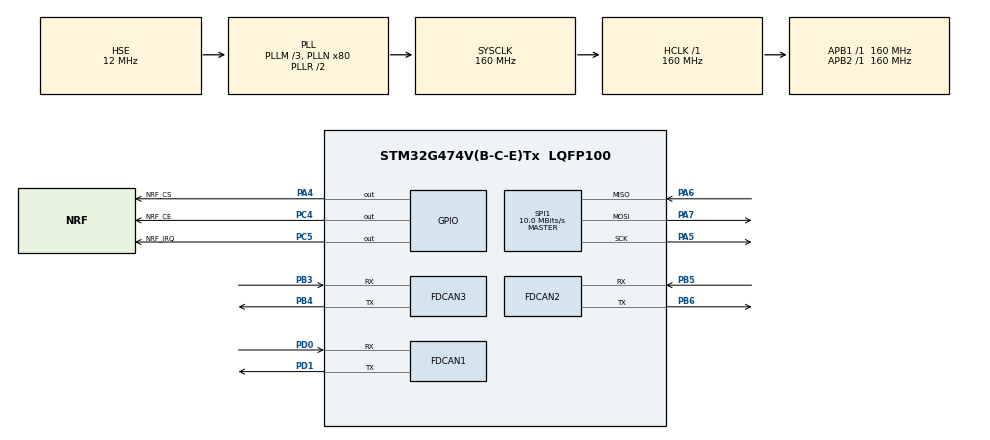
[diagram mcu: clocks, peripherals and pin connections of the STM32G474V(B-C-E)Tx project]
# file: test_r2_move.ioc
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FDCAN1.AutoRetransmission=ENABLE
FDCAN1.CalculateBaudRateNominal=1000000
FDCAN1.CalculateTimeBitNominal=1000
FDCAN1.CalculateTimeQuantumNominal=6.25
FDCAN1.DataSyncJumpWidth=4
FDCAN1.DataTimeSeg1=5
FDCAN1.DataTimeSeg2=4
FDCAN1.ExtFiltersNbr=1
FDCAN1.NominalPrescaler=1
FDCAN1.NominalSyncJumpWidth=16
FDCAN1.NominalTimeSeg1=119
FDCAN1.NominalTimeSeg2=40
FDCAN1.StdFiltersNbr=1
FDCAN1.TransmitPause=ENABLE
FDCAN2.AutoRetransmission=ENABLE
FDCAN2.CalculateBaudRateNominal=1000000
FDCAN2.CalculateTimeBitNominal=1000
FDCAN2.CalculateTimeQuantumNominal=6.25
FDCAN2.DataSyncJumpWidth=4
FDCAN2.DataTimeSeg1=5
FDCAN2.DataTimeSeg2=4
FDCAN2.ExtFiltersNbr=1
FDCAN2.NominalPrescaler=1
FDCAN2.NominalSyncJumpWidth=16
FDCAN2.NominalTimeSeg1=119
FDCAN2.NominalTimeSeg2=40
FDCAN2.StdFiltersNbr=1
FDCAN2.TransmitPause=ENABLE
FDCAN3.AutoRetransmission=ENABLE
FDCAN3.CalculateBaudRateNominal=1000000
FDCAN3.CalculateTimeBitNominal=1000
FDCAN3.CalculateTimeQuantumNominal=6.25
FDCAN3.DataSyncJumpWidth=4
FDCAN3.DataTimeSeg1=5
FDCAN3.DataTimeSeg2=4
FDCAN3.ExtFiltersNbr=1
FDCAN3.NominalPrescaler=1
FDCAN3.NominalSyncJumpWidth=16
FDCAN3.NominalTimeSeg1=119
FDCAN3.NominalTimeSeg2=40
FDCAN3.StdFiltersNbr=1
FDCAN3.TransmitPause=ENABLE
FREERTOS.Tasks01=defaultTask,24,128,StartDefaultTask,Default,NULL,Dynamic,NULL,NULL;myTask02,24,128,r2_move,Default,NULL,Dynamic,NULL,NULL;myTask03,24,128,r2_getball,Default,NULL,Dynamic,NULL,NULL;myTask04,24,128,r2_spitball,Default,NULL,Dynamic,NULL,NULL;myTask05,24,128,nrf_refresh,Default,NULL,Dynamic,NULL,NULL
Mcu.Family=STM32G4
Mcu.Name=STM32G474V(B-C-E)Tx
Mcu.Package=LQFP100
NVIC.FDCAN1_IT0_IRQn=true\:5\:0\:false\:false\:true\:true\:true\:true\:true
NVIC.FDCAN2_IT0_IRQn=true\:5\:0\:false\:false\:true\:true\:true\:true\:true
NVIC.FDCAN3_IT0_IRQn=true\:5\:0\:false\:false\:true\:true\:true\:true\:true
NVIC.PriorityGroup=NVIC_PRIORITYGROUP_4
NVIC.TIM3_IRQn=true\:15\:0\:false\:false\:true\:false\:false\:true\:true
NVIC.TimeBase=TIM3_IRQn
NVIC.TimeBaseIP=TIM3
PA13.Mode=Serial_Wire
PA13.Signal=SYS_JTMS-SWDIO
PA14.Mode=Serial_Wire
PA14.Signal=SYS_JTCK-SWCLK
PA4.GPIO_Label=NRF_CS
PA4.GPIO_PuPd=GPIO_PULLUP
PA4.GPIO_Speed=GPIO_SPEED_FREQ_HIGH
PA4.Signal=GPIO_Output
PA5.Mode=Full_Duplex_Master
PA5.Signal=SPI1_SCK
PA6.Mode=Full_Duplex_Master
PA6.Signal=SPI1_MISO
PA7.Mode=Full_Duplex_Master
PA7.Signal=SPI1_MOSI
PB3.Mode=FDCAN_Activate
PB3.Signal=FDCAN3_RX
PB4.Mode=FDCAN_Activate
PB4.Signal=FDCAN3_TX
PB5.Mode=FDCAN_Activate
PB5.Signal=FDCAN2_RX
PB6.Mode=FDCAN_Activate
PB6.Signal=FDCAN2_TX
PC4.GPIO_Label=NRF_CE
PC4.GPIO_PuPd=GPIO_PULLUP
PC4.GPIO_Speed=GPIO_SPEED_FREQ_HIGH
PC4.Signal=GPIO_Output
PC5.GPIO_Label=NRF_IRQ
PC5.GPIO_PuPd=GPIO_PULLUP
PC5.GPIO_Speed=GPIO_SPEED_FREQ_HIGH
PC5.Signal=GPIO_Output
PD0.Mode=FDCAN_Activate
PD0.Signal=FDCAN1_RX
PD1.Mode=FDCAN_Activate
PD1.Signal=FDCAN1_TX
PF0-OSC_IN.Mode=HSE-External-Oscillator
PF0-OSC_IN.Signal=RCC_OSC_IN
PF1-OSC_OUT.Mode=HSE-External-Oscillator
PF1-OSC_OUT.Signal=RCC_OSC_OUT
ProjectManager.HeapSize=0x200
ProjectManager.StackSize=0x400
ProjectManager.TargetToolchain=MDK-ARM V5.32
RCC.ADC12Freq_Value=160000000
RCC.ADC345Freq_Value=160000000
RCC.AHBFreq_Value=160000000
RCC.APB1Freq_Value=160000000
RCC.APB1TimFreq_Value=160000000
RCC.APB2Freq_Value=160000000
RCC.APB2TimFreq_Value=160000000
RCC.CortexFreq_Value=160000000
RCC.EXTERNAL_CLOCK_VALUE=12288000
RCC.HCLKFreq_Value=160000000
RCC.HSE_VALUE=12000000
RCC.HSI48_VALUE=48000000
RCC.HSI_VALUE=16000000
RCC.LSE_VALUE=32768
RCC.PLLM=RCC_PLLM_DIV3
RCC.PLLN=80
RCC.PLLSourceVirtual=RCC_PLLSOURCE_HSE
RCC.SYSCLKFreq_VALUE=160000000
RCC.SYSCLKSource=RCC_SYSCLKSOURCE_PLLCLK
RCC.USBFreq_Value=160000000
RCC.VCOOutputFreq_Value=320000000
SPI1.BaudRatePrescaler=SPI_BAUDRATEPRESCALER_16
SPI1.CalculateBaudRate=10.0 MBits/s
SPI1.DataSize=SPI_DATASIZE_8BIT
SPI1.Direction=SPI_DIRECTION_2LINES
SPI1.Mode=SPI_MODE_MASTER
SPI1.VirtualType=VM_MASTER
VP_FREERTOS_VS_CMSIS_V2.Mode=CMSIS_V2
VP_SYS_VS_DBSignals.Mode=DisableDeadBatterySignals
VP_SYS_VS_tim3.Mode=TIM3
board=custom

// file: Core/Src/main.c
/* USER CODE BEGIN Header */
/**
  ******************************************************************************
  * @file           : main.c
  * @brief          : Main program body
  ******************************************************************************
  * @attention
  *
  * Copyright (c) 2023 STMicroelectronics.
  * All rights reserved.
  *
  * This software is licensed under terms that can be found in the LICENSE file
  * in the root directory of this software component.
  * If no LICENSE file comes with this software, it is provided AS-IS.
  *
  ******************************************************************************
  */
/* USER CODE END Header */
#include "main.h"
#include "cmsis_os.h"
#include "fdcan.h"
#include "spi.h"
#include "gpio.h"

/* USER CODE BEGIN Includes */
#include "move.h"
#include "MY_Task.h"
#include "FreeRTOS.h"
#include "task.h"

/* USER CODE END Includes */

/* USER CODE BEGIN PV */
int max_speed =500 ;
float VX=0;
float VY=0;
float VZ=0;
int getball_spd=500 ;
int spitball_spd=500;
int change[5]={1,1,1,1,1};

/* USER CODE END PV */

void SystemClock_Config(void);
void MX_FREERTOS_Init(void);

int main(void)
{

  /* MCU Configuration--------------------------------------------------------*/

  /* Reset of all peripherals, Initializes the Flash interface and the Systick. */
  HAL_Init();

  /* Configure the system clock */
  SystemClock_Config();

  /* Initialize all configured peripherals */
  MX_GPIO_Init();
  MX_FDCAN1_Init();
  MX_FDCAN2_Init();
  MX_FDCAN3_Init();
  MX_SPI1_Init();
  /* USER CODE BEGIN 2 */
	Program_Init();

  /* USER CODE END 2 */

  /* Init scheduler */
  osKernelInitialize();  /* Call init function for freertos objects (in freertos.c) */
  MX_FREERTOS_Init();

  /* Start scheduler */
  osKernelStart();

  /* We should never get here as control is now taken by the scheduler */
  /* Infinite loop */
  while (1)
  {

  }
}

void SystemClock_Config(void)
{
  RCC_OscInitTypeDef RCC_OscInitStruct = {0};
  RCC_ClkInitTypeDef RCC_ClkInitStruct = {0};

  /** Configure the main internal regulator output voltage
  */
  HAL_PWREx_ControlVoltageScaling(PWR_REGULATOR_VOLTAGE_SCALE1_BOOST);

  /** Initializes the RCC Oscillators according to the specified parameters
  * in the RCC_OscInitTypeDef structure.
  */
  RCC_OscInitStruct.OscillatorType = RCC_OSCILLATORTYPE_HSE;
  RCC_OscInitStruct.HSEState = RCC_HSE_ON;
  RCC_OscInitStruct.PLL.PLLState = RCC_PLL_ON;
  RCC_OscInitStruct.PLL.PLLSource = RCC_PLLSOURCE_HSE;
  RCC_OscInitStruct.PLL.PLLM = RCC_PLLM_DIV3;
  RCC_OscInitStruct.PLL.PLLN = 80;
  RCC_OscInitStruct.PLL.PLLP = RCC_PLLP_DIV2;
  RCC_OscInitStruct.PLL.PLLQ = RCC_PLLQ_DIV2;
  RCC_OscInitStruct.PLL.PLLR = RCC_PLLR_DIV2;
  if (HAL_RCC_OscConfig(&RCC_OscInitStruct) != HAL_OK)
  {
    Error_Handler();
  }

  /** Initializes the CPU, AHB and APB buses clocks
  */
  RCC_ClkInitStruct.ClockType = RCC_CLOCKTYPE_HCLK|RCC_CLOCKTYPE_SYSCLK
                              |RCC_CLOCKTYPE_PCLK1|RCC_CLOCKTYPE_PCLK2;
  RCC_ClkInitStruct.SYSCLKSource = RCC_SYSCLKSOURCE_PLLCLK;
  RCC_ClkInitStruct.AHBCLKDivider = RCC_SYSCLK_DIV1;
  RCC_ClkInitStruct.APB1CLKDivider = RCC_HCLK_DIV1;
  RCC_ClkInitStruct.APB2CLKDivider = RCC_HCLK_DIV1;

  if (HAL_RCC_ClockConfig(&RCC_ClkInitStruct, FLASH_LATENCY_4) != HAL_OK)
  {
    Error_Handler();
  }
}

/* USER CODE BEGIN 4 */
/*********FDcan1和FDcan3*********/
void HAL_FDCAN_RxFifo0Callback(FDCAN_HandleTypeDef *hfdcan, uint32_t RxFifo0ITs)
{
	FDCAN_RxHeaderTypeDef RxMessage;
    uint8_t RxData[8] = {0};

	HAL_FDCAN_GetRxMessage(hfdcan, FDCAN_RX_FIFO0,&RxMessage, RxData);
    	if(RxMessage.IdType==FDCAN_STANDARD_ID)
	{
		if(RxMessage.Identifier>=0x201&&RxMessage.Identifier<=0x208)
		{
			RM3508_Get_Feedback(RxMessage .Identifier,RxData);
		}
	}

}
/*************FDcan2*********/
void HAL_FDCAN_RxFifo1Callback(FDCAN_HandleTypeDef *hfdcan, uint32_t RxFifo0ITs)
{
	FDCAN_RxHeaderTypeDef RxMessage;
    uint8_t RxData[8] = {0};

	HAL_FDCAN_GetRxMessage(hfdcan, FDCAN_RX_FIFO1, &RxMessage, RxData);
    	if(RxMessage.IdType==FDCAN_STANDARD_ID)
	{
		if(RxMessage.Identifier>=0x201&&RxMessage.Identifier<=0x208)
		{
			RM3508_Get_Feedback(RxMessage .Identifier,RxData);
		}
	}

}

/* USER CODE END 4 */

void HAL_TIM_PeriodElapsedCallback(TIM_HandleTypeDef *htim)
{
  if (htim->Instance == TIM3) {
    HAL_IncTick();
  }
}

void Error_Handler(void)
{
  __disable_irq();
  while (1)
  {
  }
}

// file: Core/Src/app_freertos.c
/* USER CODE BEGIN Header */
/**
  ******************************************************************************
  * File Name          : app_freertos.c
  * Description        : Code for freertos applications
  ******************************************************************************
  * @attention
  *
  * Copyright (c) 2023 STMicroelectronics.
  * All rights reserved.
  *
  * This software is licensed under terms that can be found in the LICENSE file
  * in the root directory of this software component.
  * If no LICENSE file comes with this software, it is provided AS-IS.
  *
  ******************************************************************************
  */
/* USER CODE END Header */

#include "FreeRTOS.h"
#include "task.h"
#include "main.h"
#include "cmsis_os.h"

/* USER CODE BEGIN Includes */
#include "move.h"
#include "MY_Task.h"
/* USER CODE END Includes */

/* Definitions for defaultTask */
osThreadId_t defaultTaskHandle;
const osThreadAttr_t defaultTask_attributes = {
  .name = "defaultTask",
  .priority = (osPriority_t) osPriorityNormal,
  .stack_size = 128 * 4
};
/* Definitions for myTask02 */
osThreadId_t myTask02Handle;
const osThreadAttr_t myTask02_attributes = {
  .name = "myTask02",
  .priority = (osPriority_t) osPriorityNormal,
  .stack_size = 128 * 4
};
/* Definitions for myTask03 */
osThreadId_t myTask03Handle;
const osThreadAttr_t myTask03_attributes = {
  .name = "myTask03",
  .priority = (osPriority_t) osPriorityNormal,
  .stack_size = 128 * 4
};
/* Definitions for myTask04 */
osThreadId_t myTask04Handle;
const osThreadAttr_t myTask04_attributes = {
  .name = "myTask04",
  .priority = (osPriority_t) osPriorityNormal,
  .stack_size = 128 * 4
};
/* Definitions for myTask05 */
osThreadId_t myTask05Handle;
const osThreadAttr_t myTask05_attributes = {
  .name = "myTask05",
  .priority = (osPriority_t) osPriorityNormal,
  .stack_size = 128 * 4
};

void StartDefaultTask(void *argument);
void r2_move(void *argument);
void r2_getball(void *argument);
void r2_spitball(void *argument);
void nrf_refresh(void *argument);

void MX_FREERTOS_Init(void); /* (MISRA C 2004 rule 8.1) */

void MX_FREERTOS_Init(void) {

  /* Create the thread(s) */
  /* creation of defaultTask */
  defaultTaskHandle = osThreadNew(StartDefaultTask, NULL, &defaultTask_attributes);

  /* creation of myTask02 */
  myTask02Handle = osThreadNew(r2_move, NULL, &myTask02_attributes);

  /* creation of myTask03 */
  myTask03Handle = osThreadNew(r2_getball, NULL, &myTask03_attributes);

  /* creation of myTask04 */
  myTask04Handle = osThreadNew(r2_spitball, NULL, &myTask04_attributes);

  /* creation of myTask05 */
  myTask05Handle = osThreadNew(nrf_refresh, NULL, &myTask05_attributes);

}

void StartDefaultTask(void *argument)
{
  for(;;)
  {
    osDelay(1);
  }
}

void r2_move(void *argument)
{
  /* USER CODE BEGIN r2_move */
  /* Infinite loop */
  for(;;)
  {
		move_send();
		GET_XY_value();
		GET_Z_value();
//		Motor_Start();
    osDelay(1);
  }
  /* USER CODE END r2_move */
}

void r2_getball(void *argument)
{
  /* USER CODE BEGIN r2_getball */
  /* Infinite loop */
  for(;;)
  {
		ball_get();
    osDelay(1);
  }
  /* USER CODE END r2_getball */
}

void r2_spitball(void *argument)
{
  /* USER CODE BEGIN r2_spitball */
  /* Infinite loop */
  for(;;)
  {
		change_spit();
		ball_spit();
    osDelay(1);
  }
  /* USER CODE END r2_spitball */
}

void nrf_refresh(void *argument)
{
  /* USER CODE BEGIN nrf_refresh */
  /* Infinite loop */
  for(;;)
  {
		NRF_Refresh_Task();
		RM3508_SendData(&hfdcan1);
    osDelay(1);
  }
  /* USER CODE END nrf_refresh */
}
